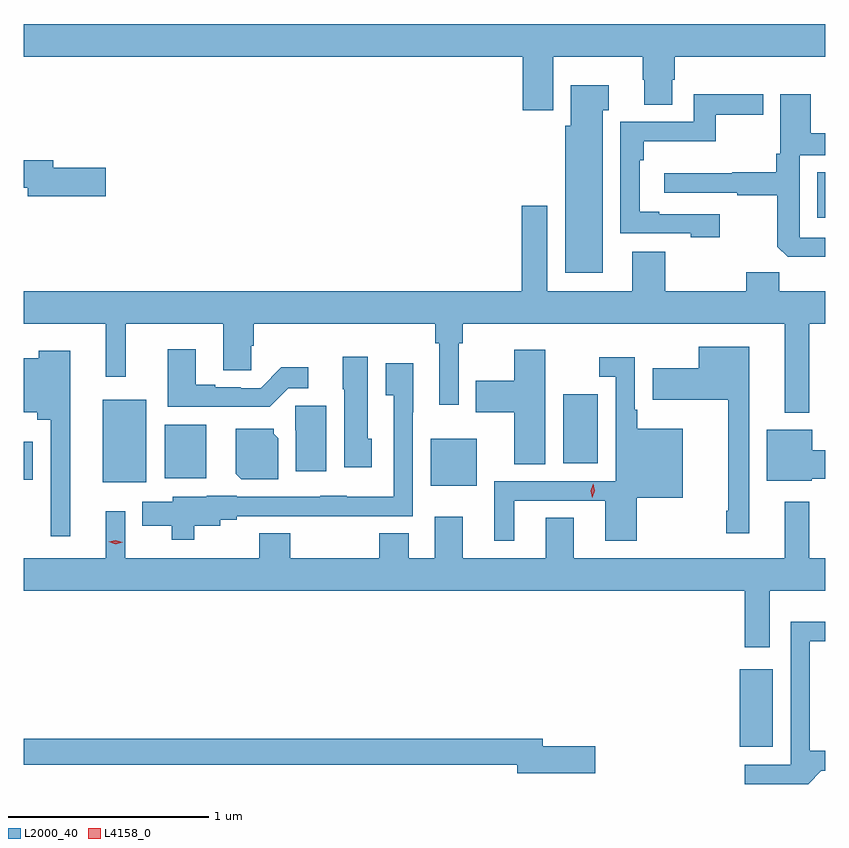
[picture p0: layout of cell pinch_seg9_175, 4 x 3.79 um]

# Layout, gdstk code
import gdstk
lib = gdstk.Library(unit=1e-6, precision=1e-09)
def R(c, l, rs):  # rectangles x0, y0, x1, y1
    for r in rs: c.add(gdstk.rectangle(r[:2], r[2:], *l))
def P(c, l, *ps):  # polygons
    for p in ps: c.add(gdstk.Polygon(p, *l))
L2000_40 = (2000, 40)
L4158_0 = (4158, 0)

pinch_seg9_175 = lib.new_cell('pinch_seg9_175')
R(pinch_seg9_175, L2000_40, [(797.156,1212.959,797.32,1213.345), (795.614,1214.261,795.844,1214.494), (793.979,1214.279,794.194,1214.689), (793.583,1214.291,793.63,1214.479), (794.288,1214.297,794.494,1214.566), (796.274,1214.372,796.447,1214.716), (797.543,1215.598,797.583,1215.824)])
P(pinch_seg9_175, L2000_40, [(796.225,1216.4),(796.672,1216.4),(796.672,1216.287),(796.679,1216.287),(796.679,1216.162),(796.819,1216.162),(796.819,1216.287),(796.832,1216.287),(796.832,1216.4),(797.583,1216.4),(797.583,1216.564),(793.583,1216.564),(793.583,1216.4),(796.073,1216.4),(796.073,1216.134),(796.225,1216.134)],
  [(796.471,1216.133),(796.501,1216.133),(796.501,1216.258),(796.313,1216.258),(796.313,1216.056),(796.286,1216.056),(796.286,1215.323),(796.471,1215.323)],
  [(797.056,1215.615),(796.753,1215.615),(796.753,1215.628),(796.656,1215.628),(796.656,1215.884),(796.676,1215.884),(796.676,1215.98),(797.035,1215.98),(797.035,1216.111),(797.272,1216.111),(797.272,1216.214),(796.926,1216.214),(796.926,1216.077),(796.56,1216.077),(796.56,1215.519),(796.911,1215.519),(796.911,1215.5),(797.056,1215.5)],
  [(797.583,1215.498),(797.454,1215.498),(797.454,1215.909),(797.583,1215.909),(797.583,1216.018),(797.509,1216.018),(797.509,1216.213),(797.358,1216.213),(797.358,1215.916),(797.338,1215.916),(797.338,1215.824),(797.119,1215.824),(797.119,1215.82),(796.779,1215.82),(796.779,1215.723),(797.143,1215.723),(797.143,1215.711),(797.343,1215.711),(797.343,1215.453),(797.395,1215.402),(797.583,1215.402)],
  [(793.993,1215.848),(793.732,1215.848),(793.732,1215.884),(793.583,1215.884),(793.583,1215.748),(793.604,1215.748),(793.604,1215.706),(793.993,1215.706)],
  [(797.503,1215.068),(797.583,1215.068),(797.583,1215.232),(797.353,1215.232),(797.353,1215.325),(797.189,1215.325),(797.189,1215.232),(796.783,1215.232),(796.783,1215.427),(796.619,1215.427),(796.619,1215.232),(796.195,1215.232),(796.195,1215.658),(796.067,1215.658),(796.067,1215.232),(793.583,1215.232),(793.583,1215.068),(793.994,1215.068),(793.994,1214.805),(794.093,1214.805),(794.093,1215.068),(794.579,1215.068),(794.579,1214.836),(794.718,1214.836),(794.718,1214.958),(794.732,1214.958),(794.732,1215.068),(795.637,1215.068),(795.637,1214.972),(795.656,1214.972),(795.656,1214.664),(795.753,1214.664),(795.753,1214.972),(795.773,1214.972),(795.773,1215.068),(797.381,1215.068),(797.381,1214.624),(797.503,1214.624)],
  [(797.203,1214.953),(796.952,1214.953),(796.952,1214.848),(796.722,1214.848),(796.722,1214.69),(797.099,1214.69),(797.099,1214.137),(797.089,1214.137),(797.089,1214.025),(797.203,1214.025)],
  [(794.904,1214.748),(795.004,1214.748),(795.004,1214.851),(794.869,1214.851),(794.766,1214.748),(794.666,1214.748),(794.666,1214.751),(794.539,1214.751),(794.539,1214.764),(794.443,1214.764),(794.443,1214.941),(794.303,1214.941),(794.303,1214.654),(794.81,1214.654)],
  [(796.186,1214.938),(796.031,1214.938),(796.031,1214.785),(795.838,1214.785),(795.838,1214.627),(796.031,1214.627),(796.031,1214.368),(796.186,1214.368)],
  [(793.816,1214.935),(793.658,1214.935),(793.658,1214.896),(793.583,1214.896),(793.583,1214.627),(793.651,1214.627),(793.651,1214.591),(793.719,1214.591),(793.719,1214.01),(793.816,1214.01)],
  [(795.319,1214.496),(795.301,1214.496),(795.301,1214.905),(795.176,1214.905),(795.176,1214.742),(795.182,1214.742),(795.182,1214.352),(795.319,1214.352)],
  [(796.03,1214.187),(796.484,1214.187),(796.484,1213.986),(796.641,1213.986),(796.641,1214.201),(796.87,1214.201),(796.87,1214.545),(796.645,1214.545),(796.645,1214.641),(796.632,1214.641),(796.632,1214.902),(796.455,1214.902),(796.455,1214.805),(796.536,1214.805),(796.536,1214.283),(795.932,1214.283),(795.932,1213.986),(796.03,1213.986)],
  [(794.434,1214.06),(794.563,1214.06),(794.563,1214.09),(794.646,1214.09),(794.646,1214.109),(795.063,1214.109),(795.063,1214.108),(795.295,1214.108),(795.295,1214.109),(795.525,1214.109),(795.525,1214.627),(795.526,1214.627),(795.526,1214.872),(795.389,1214.872),(795.389,1214.711),(795.429,1214.711),(795.429,1214.206),(795.195,1214.206),(795.195,1214.212),(795.063,1214.212),(795.063,1214.205),(794.646,1214.205),(794.646,1214.212),(794.496,1214.212),(794.496,1214.206),(794.328,1214.206),(794.328,1214.182),(794.176,1214.182),(794.176,1214.06),(794.323,1214.06),(794.323,1213.991),(794.434,1213.991)],
  [(795.094,1214.661),(794.938,1214.661),(794.938,1214.538),(794.942,1214.538),(794.942,1214.334),(795.094,1214.334)],
  [(794.854,1214.498),(794.832,1214.52),(794.832,1214.545),(794.642,1214.545),(794.642,1214.32),(794.668,1214.294),(794.854,1214.294)],
  [(797.514,1214.296),(797.583,1214.296),(797.583,1214.438),(797.518,1214.438),(797.518,1214.539),(797.291,1214.539),(797.291,1214.285),(797.514,1214.285)],
  [(796.187,1214.102),(796.187,1213.9),(795.775,1213.9),(795.775,1214.107),(795.635,1214.107),(795.635,1213.9),(795.505,1213.9),(795.505,1214.024),(795.358,1214.024),(795.358,1213.9),(794.913,1213.9),(794.913,1214.024),(794.758,1214.024),(794.758,1213.9),(794.091,1213.9),(794.091,1214.134),(793.994,1214.134),(793.994,1213.9),(793.583,1213.9),(793.583,1213.736),(797.18,1213.736),(797.18,1213.455),(797.305,1213.455),(797.305,1213.736),(797.583,1213.736),(797.583,1213.9),(797.503,1213.9),(797.503,1214.182),(797.381,1214.182),(797.381,1213.9),(796.327,1213.9),(796.327,1214.102)],
  [(797.563,1212.838),(797.583,1212.838),(797.583,1212.939),(797.505,1212.939),(797.505,1213.485),(797.583,1213.485),(797.583,1213.582),(797.409,1213.582),(797.409,1212.87),(797.181,1212.87),(797.181,1212.773),(797.498,1212.773)],
  [(796.435,1212.962),(796.174,1212.962),(796.174,1212.998),(793.583,1212.998),(793.583,1212.87),(796.046,1212.87),(796.046,1212.827),(796.435,1212.827)])
P(pinch_seg9_175, L4158_0, [(796.421,1214.2),(796.421,1214.2),(796.412,1214.236),(796.424,1214.27),(796.424,1214.271),(796.424,1214.27),(796.432,1214.235),(796.421,1214.2)],
  [(794.043,1213.97),(794.009,1213.981),(794.009,1213.981),(794.009,1213.981),(794.043,1213.99),(794.078,1213.98),(794.078,1213.98),(794.078,1213.98)])

lib.write_gds('pinch_seg9_175.gds')
